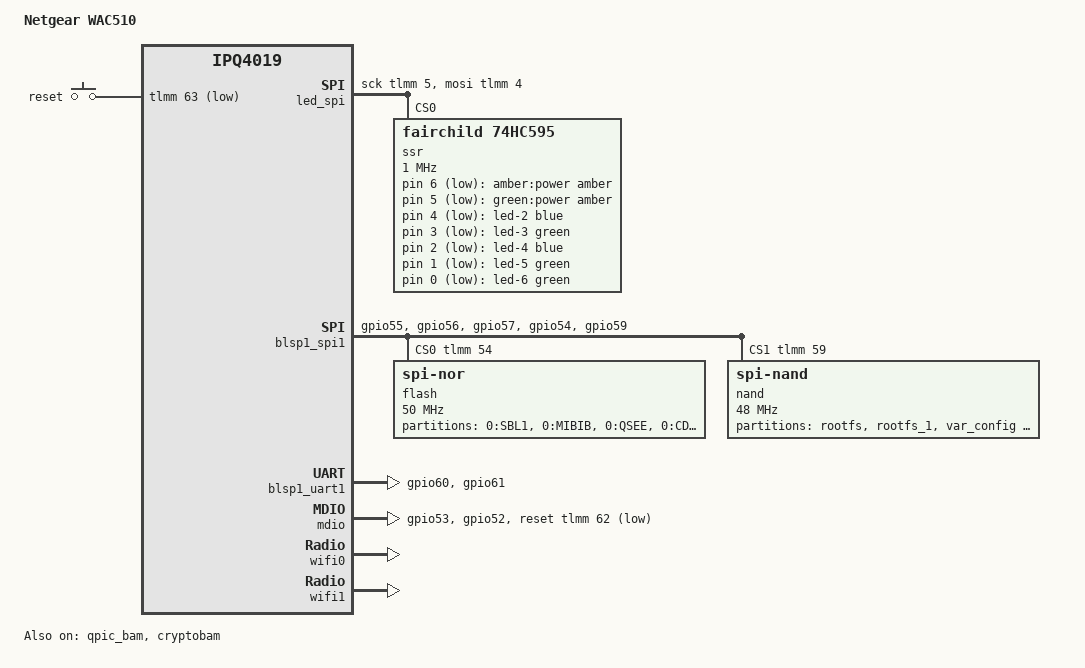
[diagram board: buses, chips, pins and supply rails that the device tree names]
// SPDX-License-Identifier: GPL-2.0-or-later OR MIT
/* Copyright (c) 2020, Robert Marko <robimarko@gmail.com> */

#include "qcom-ipq4019.dtsi"
#include <dt-bindings/gpio/gpio.h>
#include <dt-bindings/input/input.h>
#include <dt-bindings/soc/qcom,tcsr.h>
#include <dt-bindings/leds/common.h>

/ {
	model = "Netgear WAC510";
	compatible = "netgear,wac510";

	aliases {
		led-boot = &led_power_amber;
		led-failsafe = &led_power_amber;
		led-running = &led_power_green;
		led-upgrade = &led_power_amber;
		label-mac-device = &gmac0;
	};

	chosen {
		bootargs-append = " root=/dev/ubiblock0_1";
	};

	soc {
		rng@22000 {
			status = "okay";
		};

		ess-psgmii@98000 {
			status = "okay";
		};

		counter@4a1000 {
			compatible = "qcom,qca-gcnt";
			reg = <0x4a1000 0x4>;
		};

		tcsr@1949000 {
			compatible = "qcom,tcsr";
			reg = <0x1949000 0x100>;
			qcom,wifi_glb_cfg = <TCSR_WIFI_GLB_CFG>;
		};

		ess_tcsr@1953000 {
			compatible = "qcom,tcsr";
			reg = <0x1953000 0x1000>;
			qcom,ess-interface-select = <TCSR_ESS_PSGMII>;
		};

		tcsr@1957000 {
			compatible = "qcom,tcsr";
			reg = <0x1957000 0x100>;
			qcom,wifi_noc_memtype_m0_m2 = <TCSR_WIFI_NOC_MEMTYPE_M0_M2>;
		};

		crypto@8e3a000 {
			status = "okay";
		};

		watchdog@b017000 {
			status = "okay";
		};

		ess-switch@c000000 {
			status = "okay";
		};

		edma@c080000 {
			status = "okay";
		};
	};

	keys {
		compatible = "gpio-keys";

		reset {
			label = "reset";
			gpios = <&tlmm 63 GPIO_ACTIVE_LOW>;
			linux,code = <KEY_RESTART>;
		};
	};

	led_spi {
		compatible = "spi-gpio";
		#address-cells = <1>;
		#size-cells = <0>;

		sck-gpios = <&tlmm 5 GPIO_ACTIVE_HIGH>;
		mosi-gpios = <&tlmm 4 GPIO_ACTIVE_HIGH>;
		num-chipselects = <0>;

		ssr: ssr@0 {
			compatible = "fairchild,74hc595";
			reg = <0>;
			gpio-controller;
			#gpio-cells = <2>;
			registers-number = <1>;
			spi-max-frequency = <1000000>;
		};
	};

	leds {
		compatible = "gpio-leds";

		led_power_amber: led-0 {
			label = "amber:power";
			color = <LED_COLOR_ID_AMBER>;
			function = LED_FUNCTION_POWER;
			gpios = <&ssr 6 GPIO_ACTIVE_LOW>;
			panic-indicator;
		};

		led_power_green: led-1 {
			label = "green:power";
			color = <LED_COLOR_ID_AMBER>;
			function = LED_FUNCTION_POWER;
			gpios = <&ssr 5 GPIO_ACTIVE_LOW>;
		};

		led-2 {
			/* 2.4GHz blue - activity */
			color = <LED_COLOR_ID_BLUE>;
			function = LED_FUNCTION_WLAN;
			function-enumerator = <0>;
			gpios = <&ssr 4 GPIO_ACTIVE_LOW>;
			linux,default-trigger = "phy0tpt";
		};

		led-3 {
			/* 2.4GHz green - link */
			color = <LED_COLOR_ID_GREEN>;
			function = LED_FUNCTION_WLAN;
			function-enumerator = <0>;
			gpios = <&ssr 3 GPIO_ACTIVE_LOW>;
			linux,default-trigger = "phy0radio";
		};

		led-4 {
			/* 5GHz blue - activity */
			color = <LED_COLOR_ID_BLUE>;
			function = LED_FUNCTION_WLAN;
			function-enumerator = <1>;
			gpios = <&ssr 2 GPIO_ACTIVE_LOW>;
			linux,default-trigger = "phy1tpt";
		};

		led-5 {
			/* 5GHz green - link */
			color = <LED_COLOR_ID_GREEN>;
			function = LED_FUNCTION_WLAN;
			function-enumerator = <1>;
			gpios = <&ssr 1 GPIO_ACTIVE_LOW>;
			linux,default-trigger = "phy1radio";
		};

		led-6 {
			color = <LED_COLOR_ID_GREEN>;
			function = LED_FUNCTION_ACTIVITY;
			gpios = <&ssr 0 GPIO_ACTIVE_LOW>;
		};
	};
};

&qpic_bam {
	status = "okay";
};

&tlmm {
	mdio_pins: mdio_pinmux {
		mux_1 {
			pins = "gpio53";
			function = "mdio";
			bias-pull-up;
		};

		mux_2 {
			pins = "gpio52";
			function = "mdc";
			bias-pull-up;
		};
	};

	serial_pins: serial_pinmux {
		mux {
			pins = "gpio60", "gpio61";
			function = "blsp_uart0";
			bias-disable;
		};
	};

	spi_0_pins: spi_0_pinmux {
		pinmux {
			function = "blsp_spi0";
			pins = "gpio55", "gpio56", "gpio57";
			drive-strength = <12>;
			bias-disable;
		};

		pinmux_cs {
			function = "gpio";
			pins = "gpio54", "gpio59";
			drive-strength = <2>;
			bias-disable;
			output-high;
		};
	};
};

&blsp_dma {
	status = "okay";
};

&blsp1_spi1 {
	status = "okay";

	pinctrl-0 = <&spi_0_pins>;
	pinctrl-names = "default";
	cs-gpios = <&tlmm 54 GPIO_ACTIVE_HIGH>,
		   <&tlmm 59 GPIO_ACTIVE_HIGH>;

	flash@0 {
		compatible = "jedec,spi-nor";
		spi-max-frequency = <50000000>;
		reg = <0>;

		partitions {
			compatible = "fixed-partitions";
			#address-cells = <1>;
			#size-cells = <1>;

			partition@0 {
				label = "0:SBL1";
				reg = <0x00000000 0x00040000>;
				read-only;
			};

			partition@40000 {
				label = "0:MIBIB";
				reg = <0x00040000 0x00020000>;
				read-only;
			};

			partition@60000 {
				label = "0:QSEE";
				reg = <0x00060000 0x00060000>;
				read-only;
			};

			partition@c0000 {
				label = "0:CDT";
				reg = <0x000c0000 0x00010000>;
				read-only;
			};

			partition@d0000 {
				label = "0:DDRPARAMS";
				reg = <0x000d0000 0x00010000>;
				read-only;
			};

			partition@e0000 {
				label = "0:APPSBLENV";
				reg = <0x000e0000 0x00010000>;
			};

			partition@f0000 {
				label = "0:APPSBL";
				reg = <0x000f0000 0x000f0000>;
				read-only;
			};

			partition@1e0000 {
				label = "0:MANUDATA";
				reg = <0x001e0000 0x00010000>;
				read-only;
				compatible = "nvmem-cells";
				#address-cells = <1>;
				#size-cells = <1>;

				macaddr_manudata_6: macaddr@6 {
					reg = <0x6 0x6>;
				};
			};

			partition@1f0000 {
				label = "0:ART";
				reg = <0x001f0000 0x00010000>;
				read-only;
				compatible = "nvmem-cells";
				#address-cells = <1>;
				#size-cells = <1>;

				precal_art_1000: precal@1000 {
					reg = <0x1000 0x2f20>;
				};

				precal_art_5000: precal@5000 {
					reg = <0x5000 0x2f20>;
				};
			};
		};
	};

	nand@1 {
		compatible = "spi-nand";
		reg = <1>;
		spi-max-frequency = <48000000>;

		partitions {
			compatible = "fixed-partitions";
			#address-cells = <1>;
			#size-cells = <1>;

			partition@0 {
				label = "rootfs";
				reg = <0x00000000 0x03800000>;
			};

			partition@3800000 {
				label = "rootfs_1";
				reg = <0x03800000 0x03800000>;
			};

			partition@7000000 {
				label = "var_config";
				reg = <0x07000000 0x00f00000>;
				read-only;
			};

			partition@7f00000 {
				label = "Oops_log";
				reg = <0x07f00000 0x000c0000>;
				read-only;
			};
		};
	};
};

&blsp1_uart1 {
	status = "okay";

	pinctrl-0 = <&serial_pins>;
	pinctrl-names = "default";
};

&cryptobam {
	status = "okay";
};

&mdio {
	status = "okay";

	pinctrl-0 = <&mdio_pins>;
	pinctrl-names = "default";
	reset-gpios = <&tlmm 62 GPIO_ACTIVE_LOW>;
	reset-delay-us = <2000>;
};

&gmac0 {
	qcom,forced_duplex = <1>;
	qcom,forced_speed = <1000>;
	qcom,phy_mdio_addr = <3>;
	qcom,poll_required = <1>;
	vlan_tag = <1 0x10>;
};

&wifi0 {
	status = "okay";
	nvmem-cell-names = "pre-calibration", "mac-address";
	nvmem-cells = <&precal_art_1000>, <&macaddr_manudata_6>;
	qcom,ath10k-calibration-variant = "Netgear-WAC510";
};

&wifi1 {
	status = "okay";
	nvmem-cell-names = "pre-calibration", "mac-address";
	nvmem-cells = <&precal_art_5000>, <&macaddr_manudata_6>;
	mac-address-increment = <16>;
	qcom,ath10k-calibration-variant = "Netgear-WAC510";
};
